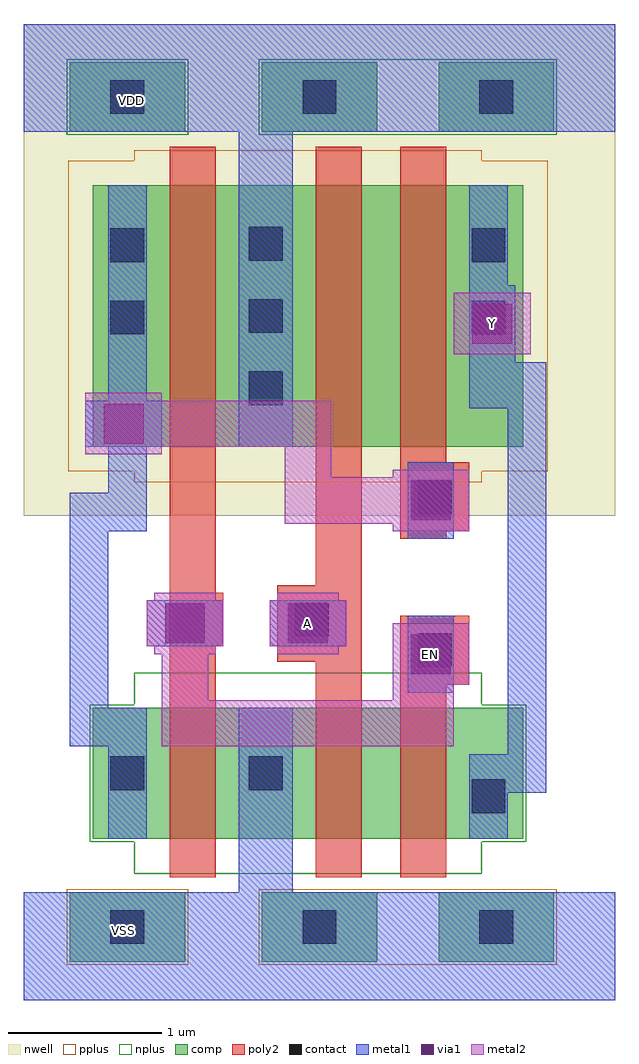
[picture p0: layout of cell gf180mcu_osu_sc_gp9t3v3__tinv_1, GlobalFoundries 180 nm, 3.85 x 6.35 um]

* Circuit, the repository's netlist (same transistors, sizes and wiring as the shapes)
* Copyright 2022 Google LLC
*
* Licensed under the Apache License, Version 2.0 (the "License");
* you may not use this file except in compliance with the License.
* You may obtain a copy of the License at
*
*      http://www.apache.org/licenses/LICENSE-2.0
*
* Unless required by applicable law or agreed to in writing, software
* distributed under the License is distributed on an "AS IS" BASIS,
* WITHOUT WARRANTIES OR CONDITIONS OF ANY KIND, either express or implied.
* See the License for the specific language governing permissions and
* limitations under the License.

* NGSPICE file created from gf180mcu_osu_sc_gp9t3v3__tinv_1.ext - technology: gf180mcuC

.subckt gf180mcu_osu_sc_gp9t3v3__tinv_1 A Y EN VDD VSS
X0 VDD a_19_16# a_9_21# VDD pfet_03p3 w=1.7u l=0.3u
X1 VSS a_19_16# a_9_21# VSS nfet_03p3 w=0.85u l=0.3u
X2 a_44_72# A VDD VDD pfet_03p3 w=1.7u l=0.3u
X3 Y a_9_21# a_44_72# VDD pfet_03p3 w=1.7u l=0.3u
X4 a_44_21# A VSS VSS nfet_03p3 w=0.85u l=0.3u
X5 Y EN a_44_21# VSS nfet_03p3 w=0.85u l=0.3u
.ends

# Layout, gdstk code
import gdstk
lib = gdstk.Library(unit=1e-6, precision=1e-09)
def R(c, l, rs):  # rectangles x0, y0, x1, y1
    for r in rs: c.add(gdstk.rectangle(r[:2], r[2:], *l))
def A(c, l, x, y, w, h, nx, ny, dx, dy):  # array of equal rectangles
    R(c, l, [(x+i*dx, y+j*dy, x+i*dx+w, y+j*dy+h) for i in range(nx) for j in range(ny)])
nwell = (21, 0)
comp = (22, 0)
poly2 = (30, 0)
pplus = (31, 0)
nplus = (32, 0)
contact = (33, 0)
metal1 = (34, 0)
via1 = (35, 0)
metal2 = (36, 0)

gf180mcu_osu_sc_gp9t3v3_ = lib.new_cell('gf180mcu_osu_sc_gp9t3v3__tinv_1')
R(gf180mcu_osu_sc_gp9t3v3_, nwell, [(0,3.15,3.85,6.35)])
R(gf180mcu_osu_sc_gp9t3v3_, comp, [(0.3,0.25,1.05,0.7), (1.55,0.25,2.3,0.7), (2.7,0.25,3.45,0.7), (0.45,1.05,3.25,1.9), (0.45,3.6,3.25,5.3), (0.3,5.65,1.05,6.1), (1.55,5.65,2.3,6.1), (2.7,5.65,3.45,6.1)])
R(gf180mcu_osu_sc_gp9t3v3_, poly2, [(0.95,0.8,1.25,2.3), (1.9,0.8,2.2,2.2), (2.45,0.8,2.75,2.05), (2.45,2.05,2.9,2.5), (1.65,2.2,2.2,2.7), (0.95,2.3,1.3,2.65), (0.95,2.65,1.25,5.55), (1.9,2.7,2.2,5.55), (2.45,3,2.75,3.05), (2.45,3.05,2.9,3.5), (2.45,3.5,2.75,5.55)])
R(gf180mcu_osu_sc_gp9t3v3_, pplus, [(0.28,0.23,1.07,0.72), (1.53,0.23,3.47,0.72), (0.72,3.37,2.98,3.44), (0.29,3.44,3.41,5.46), (0.72,5.46,2.98,5.53)])
R(gf180mcu_osu_sc_gp9t3v3_, nplus, [(0.72,0.82,2.98,1.03), (0.43,1.03,3.27,1.92), (0.72,1.92,2.98,2.13), (0.28,5.63,1.07,6.12), (1.53,5.63,3.47,6.12)])
A(gf180mcu_osu_sc_gp9t3v3_, contact, 1.465, 3.87, 0.22, 0.22, 1, 3, 0, 0.47)
R(gf180mcu_osu_sc_gp9t3v3_, contact, [(0.565,0.365,0.785,0.585), (1.815,0.365,2.035,0.585), (2.965,0.365,3.185,0.585), (2.915,1.215,3.135,1.435), (0.565,1.365,0.785,1.585), (1.465,1.365,1.685,1.585), (2.565,2.165,2.785,2.385), (1.765,2.365,1.985,2.585), (2.565,3.165,2.785,3.385), (0.565,4.33,0.785,4.55), (2.915,4.33,3.135,4.55), (0.565,4.8,0.785,5.02), (2.915,4.8,3.135,5.02), (0.565,5.765,0.785,5.985), (1.815,5.765,2.035,5.985), (2.965,5.765,3.185,5.985)])
R(gf180mcu_osu_sc_gp9t3v3_, metal1, [(0,0,3.85,0.7), (1.4,0.7,1.75,1.9), (0.55,1.05,0.8,1.65), (2.9,1.05,3.15,1.35), (2.9,1.35,3.4,1.6), (3.15,1.6,3.4,3.85), (0.3,1.65,0.8,1.9), (0.3,1.9,0.55,3.05), (2.5,2,2.8,2.5), (0.8,2.3,1.3,2.6), (1.6,2.3,2.1,2.6), (2.5,3,2.8,3.5), (0.3,3.05,0.8,3.3), (0.55,3.3,0.8,3.6), (0.4,3.6,0.9,3.9), (1.4,3.6,1.75,5.65), (2.9,3.85,3.4,4.15), (0.55,3.9,0.8,5.3), (2.9,4.15,3.2,4.65), (2.9,4.65,3.15,5.3), (0,5.65,3.85,6.35)])
R(gf180mcu_osu_sc_gp9t3v3_, via1, [(2.52,2.12,2.78,2.38), (0.92,2.32,1.18,2.58), (1.72,2.32,1.98,2.58), (2.52,3.12,2.78,3.38), (0.52,3.62,0.78,3.88), (2.92,4.27,3.18,4.53)])
R(gf180mcu_osu_sc_gp9t3v3_, metal2, [(0.9,1.65,2.8,1.95), (0.9,1.95,1.2,2.25), (2.4,1.95,2.8,2.05), (2.4,2.05,2.9,2.45), (0.85,2.25,1.25,2.3), (1.65,2.25,2.05,2.3), (0.8,2.3,1.3,2.6), (1.6,2.3,2.1,2.6), (0.85,2.6,1.25,2.65), (1.65,2.6,2.05,2.65), (2.4,3.05,2.9,3.1), (1.7,3.1,2.9,3.4), (1.7,3.4,2,3.6), (2.4,3.4,2.9,3.45), (0.4,3.55,0.9,3.6), (0.4,3.6,2,3.9), (0.4,3.9,0.9,3.95), (2.8,4.2,3.3,4.6)])
gf180mcu_osu_sc_gp9t3v3_.add(gdstk.Label('A', (1.85,2.45), layer=36, texttype=10))
gf180mcu_osu_sc_gp9t3v3_.add(gdstk.Label('Y', (3.05,4.4), layer=36, texttype=10))
gf180mcu_osu_sc_gp9t3v3_.add(gdstk.Label('EN', (2.65,2.25), layer=36, texttype=10))
gf180mcu_osu_sc_gp9t3v3_.add(gdstk.Label('VDD', (0.7,5.85), layer=34, texttype=10))
gf180mcu_osu_sc_gp9t3v3_.add(gdstk.Label('VSS', (0.65,0.45), layer=34, texttype=10))

lib.write_gds('gf180mcu_osu_sc_gp9t3v3__tinv_1.gds')
